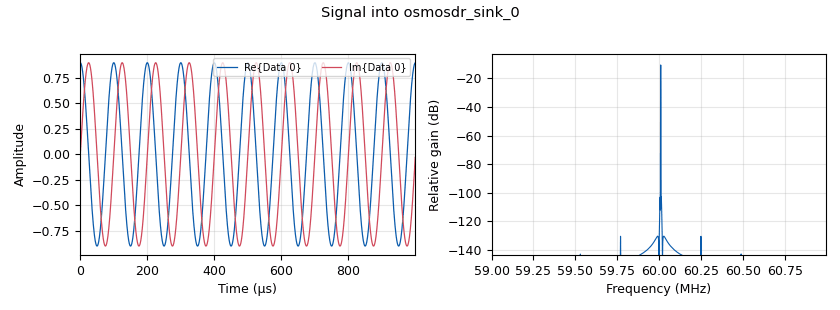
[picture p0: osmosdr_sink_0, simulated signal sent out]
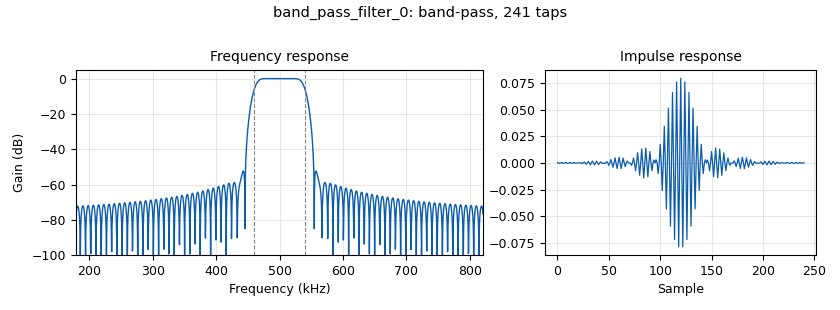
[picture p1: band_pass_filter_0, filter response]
options:
  parameters:
    author: ' '
    generate_options: qt_gui
    id: options_0
    output_language: python
    run_options: run
    title: sna
  states: {}

blocks:
- name: gain
  id: variable_qtgui_range
  parameters:
    start: '0'
    step: '1'
    stop: '20'
    value: '0'
  states: {}
- name: probed_sig
  id: variable_qtgui_label
  parameters:
    label: db
    type: real
    value: v_funprobe
  states: {}
- name: samp_rate
  id: variable
  parameters:
    value: '2000000'
  states: {}
- name: v_frequency
  id: variable
  parameters:
    value: pymodule.sweeper(variable_function_probe_0)
  states: {}
- name: v_funprobe
  id: variable_function_probe
  parameters:
    block_id: funprobe
    function_name: level
    poll_rate: '1'
    value: '0'
  states: {}
- name: v_offset
  id: variable
  parameters:
    value: '500000'
  states: {}
- name: variable_function_probe_0
  id: variable_function_probe
  parameters:
    block_id: probe_source
    function_name: level
    poll_rate: '1'
    value: '0'
  states: {}
- name: variable_qtgui_label_0
  id: variable_qtgui_label
  parameters:
    label: frequency
    type: raw
    value: v_frequency
  states: {}
- name: analog_const_source_x_0
  id: analog_const_source_x
  parameters:
    const: '1'
    type: float
  states: {}
- name: analog_sig_source_x_0
  id: analog_sig_source_x
  parameters:
    amp: '0.9'
    freq: '10000'
    offset: '0'
    phase: '0'
    samp_rate: samp_rate
    type: complex
    waveform: analog.GR_SIN_WAVE
  states: {}
- name: band_pass_filter_0
  id: band_pass_filter
  parameters:
    decim: '1'
    gain: '1'
    high_cutoff_freq: '540000'
    low_cutoff_freq: '460000'
    samp_rate: samp_rate
    type: fir_filter_ccf
    width: '20000'
    win: window.WIN_HAMMING
  states: {}
- name: blocks_file_sink_0
  id: blocks_file_sink
  parameters:
    file: /home/user/Desktop/cal1
    type: float
  states: {}
- name: blocks_head_0
  id: blocks_head
  parameters:
    num_items: '39120'
    type: float
  states: {}
- name: blocks_max_xx_0
  id: blocks_max_xx
  parameters:
    type: float
    vlen: '1024'
    vlen_out: '1'
  states: {}
- name: blocks_throttle_0
  id: blocks_throttle
  parameters:
    samples_per_second: samp_rate
    type: float
  states: {}
- name: dc_blocker_xx_0
  id: dc_blocker_xx
  parameters:
    length: '32'
    long_form: 'True'
    type: cc
  states: {}
- name: funprobe
  id: blocks_probe_signal_x
  parameters:
    type: float
  states: {}
- name: logpwrfft_x_0
  id: logpwrfft_x
  parameters:
    average: 'True'
    avg_alpha: '0.15'
    fft_size: '1024'
    frame_rate: '20'
    ref_scale: '1'
    sample_rate: samp_rate
    type: complex
  states: {}
- name: osmosdr_sink_0
  id: osmosdr_sink
  parameters:
    args: '"hackrf"'
    bb_gain0: '0'
    freq0: v_frequency
    gain0: '0'
    if_gain0: '0'
    sample_rate: samp_rate
    sync: sync
    type: fc32
  states: {}
- name: osmosdr_source_0
  id: osmosdr_source
  parameters:
    args: '"rtlsdr"'
    bb_gain0: '0'
    freq0: (v_frequency) - (v_offset)
    gain0: gain
    gain_mode0: 'False'
    if_gain0: '5'
    sample_rate: '2000000'
    sync: sync
    type: fc32
  states: {}
- name: probe_source
  id: blocks_probe_signal_x
  parameters:
    type: float
  states: {}
- name: pymodule
  id: epy_module
  parameters:
    source_code: "# this module will be imported in the into your flowgraph\n\n\nf1 = 60000000\nf2 = 1000000000\n\nf = f1\n\nstep = 500000\n\ndef sweeper(arg):\n\tglobal f1,f2,f,step\n\tif arg:\n\t\tf +=step\n\tif f>= f2:f=f1\n\t\t\n\n\treturn f\t\n\t\n"
  states: {}
- name: qtgui_sink_x_0
  id: qtgui_sink_x
  parameters:
    bw: '2000000'
    fc: '0'
    fftsize: '1024'
    showports: 'True'
    showrf: 'True'
    type: complex
  states: {}

connections:
- [analog_const_source_x_0, '0', blocks_throttle_0, '0']
- [analog_sig_source_x_0, '0', osmosdr_sink_0, '0']
- [band_pass_filter_0, '0', dc_blocker_xx_0, '0']
- [blocks_head_0, '0', blocks_file_sink_0, '0']
- [blocks_max_xx_0, '0', blocks_head_0, '0']
- [blocks_max_xx_0, '0', funprobe, '0']
- [blocks_throttle_0, '0', probe_source, '0']
- [dc_blocker_xx_0, '0', logpwrfft_x_0, '0']
- [dc_blocker_xx_0, '0', qtgui_sink_x_0, '0']
- [logpwrfft_x_0, '0', blocks_max_xx_0, '0']
- [osmosdr_source_0, '0', band_pass_filter_0, '0']

metadata:
  file_format: 1
